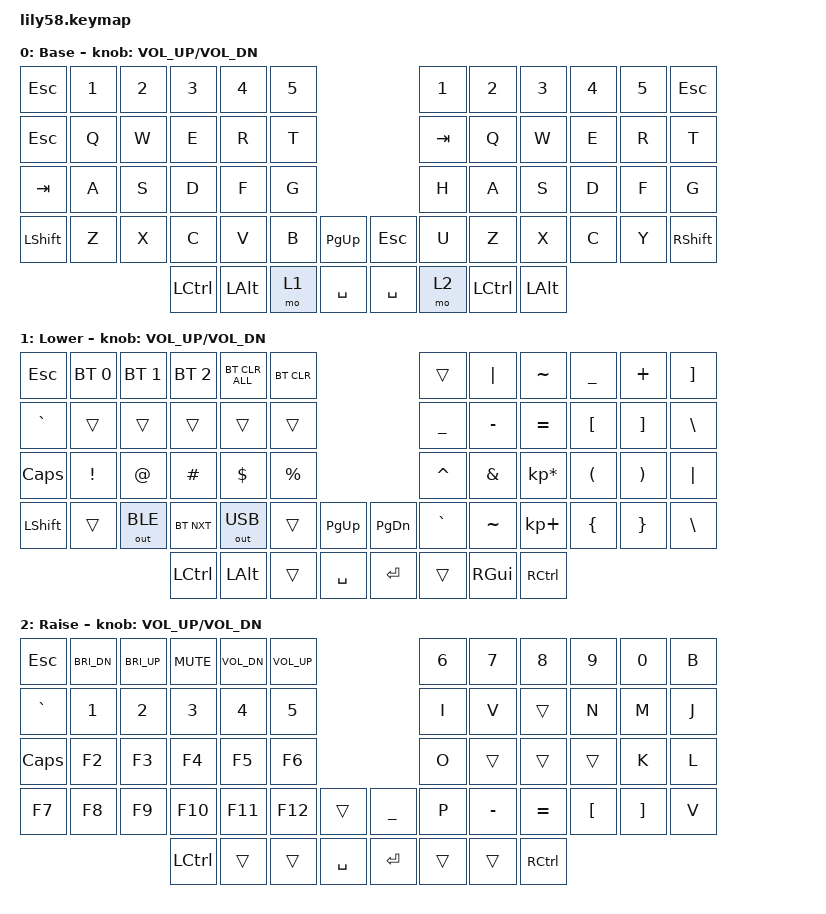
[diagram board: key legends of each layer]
/*
 * Copyright (c) 2020 The ZMK Contributors
 *
 * SPDX-License-Identifier: MIT
 */

#include <behaviors.dtsi>
#include <dt-bindings/zmk/bt.h>
#include <dt-bindings/zmk/keys.h>
#include <dt-bindings/zmk/outputs.h>

/ {
    keymap {
        compatible = "zmk,keymap";

        default_layer {
            // ------------------------------------------------------------------------------------------------------------
            // |  ESC  |  1  |  2  |  3   |  4   |  5   |                   |  6   |  7    |  8    |  9   |   0   |   `   |
            // |  TAB  |  Q  |  W  |  E   |  R   |  T   |                   |  Y   |  U    |  I    |  O   |   P   |   -   |
            // |  CTRL |  A  |  S  |  D   |  F   |  G   |                   |  H   |  J    |  K    |  L   |   ;   |   '   |
            // | SHIFT |  Z  |  X  |  C   |  V   |  B   |   "["  |  |  "]"  |  N   |  M    |  ,    |  .   |   /   | SHIFT |
            //                     | ALT  | GUI  | LOWER|  SPACE |  | ENTER | RAISE| BSPC  | GUI   |

            display-name = "Base";
            bindings = <
&kp ESC    &kp N1  &kp N2  &kp N3     &kp N4    &kp N5                            &kp N1   &kp N2     &kp N3    &kp N4  &kp N5  &kp ESC
&kp ESC    &kp Q   &kp W   &kp E      &kp R     &kp T                             &kp TAB  &kp Q      &kp W     &kp E   &kp R   &kp T
&kp TAB    &kp A   &kp S   &kp D      &kp F     &kp G                             &kp H    &kp A      &kp S     &kp D   &kp F   &kp G
&kp LSHFT  &kp Z   &kp X   &kp C      &kp V     &kp B   &kp PAGE_UP    &kp ESC    &kp U    &kp Z      &kp X     &kp C   &kp Y   &kp RSHFT
                           &kp LCTRL  &kp LALT  &mo 1   &kp SPACE      &kp SPACE  &mo 2    &kp LCTRL  &kp LALT
            >;

            sensor-bindings = <&inc_dec_kp C_VOL_UP C_VOL_DN>;
        };

        lower_layer {
            // ------------------------------------------------------------------------------------------------------------
            // | BTCLR | BT1 | BT2 |  BT3 |  BT4 |  BT5 |                   |      |       |       |      |       |       |
            // |  F1   |  F2 |  F3 |  F4  |  F5  |  F6  |                   |  F7  |  F8   |  F9   |  F10 |  F11  |  F12  |
            // |   `   |  !  |  @  |  #   |  $   |  %   |                   |  ^   |  &    |  *    |  (   |   )   |   ~   |
            // |       |     |     |      |      |      |        |  |       |      |  _    |  +    |  {   |   }   |  "|"  |
            //                     |      |      |      |        |  |       |      |       |       |

            display-name = "Lower";
            bindings = <
&kp ESC    &bt BT_SEL 0  &bt BT_SEL 1  &bt BT_SEL 2  &bt BT_CLR_ALL  &bt BT_CLR                                &trans          &kp PIPE   &kp TILDE        &kp UNDERSCORE  &kp PLUS  &kp RBKT
&kp GRAVE  &trans        &trans        &trans        &trans          &trans                                    &kp UNDERSCORE  &kp MINUS  &kp EQUAL        &kp LBKT        &kp RBKT  &kp BSLH
&kp CAPS   &kp EXCL      &kp AT        &kp HASH      &kp DOLLAR      &kp PRCNT                                 &kp CARET       &kp AMPS   &kp KP_MULTIPLY  &kp LPAR        &kp RPAR  &kp PIPE
&kp LSHFT  &trans        &out OUT_BLE  &bt BT_NXT    &out OUT_USB    &trans      &kp PAGE_UP    &kp PAGE_DOWN  &kp GRAVE       &kp TILDE  &kp KP_PLUS      &kp LBRC        &kp RBRC  &kp BSLH
                                       &kp LCTRL     &kp LALT        &trans      &kp SPACE      &kp RET        &trans          &kp RGUI   &kp RCTRL
            >;

            sensor-bindings = <&inc_dec_kp C_VOL_UP C_VOL_DN>;
        };

        raise_layer {
            // ------------------------------------------------------------------------------------------------------------
            // |       |     |     |      |      |      |                   |      |       |       |      |       |       |
            // |   `   |  1  |  2  |  3   |  4   |  5   |                   |  6   |   7   |   8   |  9   |   0   |       |
            // |   F1  |  F2 |  F3 |  F4  |  F5  |  F6  |                   |      |   <-  |   v   |  ^   |  ->   |       |
            // |   F7  |  F8 |  F9 |  F10 |  F11 |  F12 |        |  |       |  +   |   -   |   =   |  [   |   ]   |   \   |
            //                     |      |      |      |        |  |       |      |       |       |

            display-name = "Raise";
            bindings = <
&kp ESC    &kp C_BRI_DN  &kp C_BRI_UP  &kp C_MUTE  &kp C_VOL_DN  &kp C_VOL_UP                               &kp N6  &kp N7     &kp N8     &kp N9    &kp N0    &kp B
&kp GRAVE  &kp N1        &kp N2        &kp N3      &kp N4        &kp N5                                     &kp I   &kp V      &trans     &kp N     &kp M     &kp J
&kp CAPS   &kp F2        &kp F3        &kp F4      &kp F5        &kp F6                                     &kp O   &trans     &trans     &trans    &kp K     &kp L
&kp F7     &kp F8        &kp F9        &kp F10     &kp F11       &kp F12       &trans       &kp UNDERSCORE  &kp P   &kp MINUS  &kp EQUAL  &kp LBKT  &kp RBKT  &kp V
                                       &kp LCTRL   &trans        &trans        &kp SPACE    &kp RET         &trans  &trans     &kp RCTRL
            >;

            sensor-bindings = <&inc_dec_kp C_VOL_UP C_VOL_DN>;
        };

        extra_1 { status = "reserved"; };

        extra_2 { status = "reserved"; };

        extra_3 { status = "reserved"; };
    };
};
